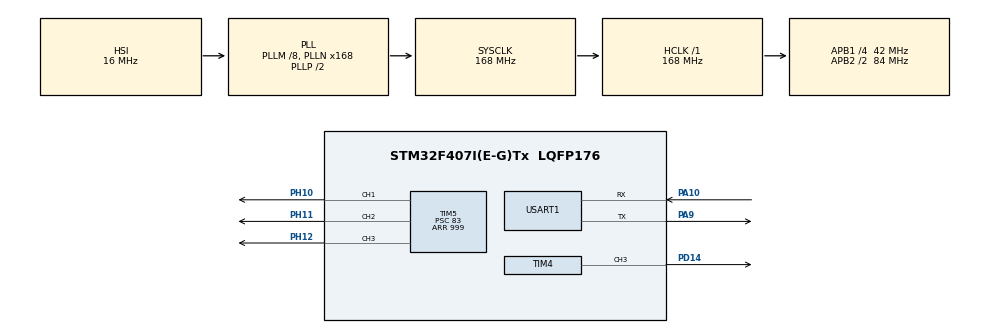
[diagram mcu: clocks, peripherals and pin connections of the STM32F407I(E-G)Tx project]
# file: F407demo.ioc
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FREERTOS.Tasks01=defaultTask,24,1024,StartDefaultTask,Default,NULL,Dynamic,NULL,NULL;LEDTask,8,1024,StartTask02,Default,NULL,Dynamic,NULL,NULL
Mcu.Family=STM32F4
Mcu.Name=STM32F407I(E-G)Tx
Mcu.Package=LQFP176
NVIC.PriorityGroup=NVIC_PRIORITYGROUP_4
NVIC.USART1_IRQn=true\:5\:0\:true\:false\:true\:true\:true\:true\:true
PA10.Mode=Asynchronous
PA10.Signal=USART1_RX
PA13.Mode=Serial_Wire
PA13.Signal=SYS_JTMS-SWDIO
PA14.Mode=Serial_Wire
PA14.Signal=SYS_JTCK-SWCLK
PA9.Mode=Asynchronous
PA9.Signal=USART1_TX
PC14-OSC32_IN.Mode=LSE-External-Oscillator
PC14-OSC32_IN.Signal=RCC_OSC32_IN
PC15-OSC32_OUT.Mode=LSE-External-Oscillator
PC15-OSC32_OUT.Signal=RCC_OSC32_OUT
PD14.Signal=S_TIM4_CH3
PH10.Signal=S_TIM5_CH1
PH11.Signal=S_TIM5_CH2
PH12.Signal=S_TIM5_CH3
ProjectManager.HeapSize=0x200
ProjectManager.StackSize=0x400
ProjectManager.TargetToolchain=CMake
RCC.48MHZClocksFreq_Value=84000000
RCC.AHBFreq_Value=168000000
RCC.APB1CLKDivider=RCC_HCLK_DIV4
RCC.APB1Freq_Value=42000000
RCC.APB1TimFreq_Value=84000000
RCC.APB2CLKDivider=RCC_HCLK_DIV2
RCC.APB2Freq_Value=84000000
RCC.APB2TimFreq_Value=168000000
RCC.CortexFreq_Value=168000000
RCC.HCLKFreq_Value=168000000
RCC.HSE_VALUE=8000000
RCC.HSI_VALUE=16000000
RCC.PLLM=8
RCC.PLLN=168
RCC.SYSCLKFreq_VALUE=168000000
RCC.SYSCLKSource=RCC_SYSCLKSOURCE_PLLCLK
RCC.VCOOutputFreq_Value=336000000
SH.S_TIM4_CH3.0=TIM4_CH3,PWM Generation3 CH3
SH.S_TIM5_CH1.0=TIM5_CH1,PWM Generation1 CH1
SH.S_TIM5_CH2.0=TIM5_CH2,PWM Generation2 CH2
SH.S_TIM5_CH3.0=TIM5_CH3,PWM Generation3 CH3
TIM4.Channel-PWM\ Generation3\ CH3=TIM_CHANNEL_3
TIM4.Period=499
TIM4.Prescaler=83
TIM4.Pulse-PWM\ Generation3\ CH3=250
TIM5.Channel-PWM\ Generation1\ CH1=TIM_CHANNEL_1
TIM5.Channel-PWM\ Generation2\ CH2=TIM_CHANNEL_2
TIM5.Channel-PWM\ Generation3\ CH3=TIM_CHANNEL_3
TIM5.Period=999
TIM5.Prescaler=83
USART1.VirtualMode=VM_ASYNC
VP_FREERTOS_VS_CMSIS_V2.Mode=CMSIS_V2
VP_TIM4_VS_ClockSourceINT.Mode=Internal
VP_TIM5_VS_ClockSourceINT.Mode=Internal
board=custom

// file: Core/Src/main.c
/* USER CODE BEGIN Header */
/**
 ******************************************************************************
 * @file           : main.c
 * @brief          : Main program body
 ******************************************************************************
 * @attention
 *
 * Copyright (c) 2026 STMicroelectronics.
 * All rights reserved.
 *
 * This software is licensed under terms that can be found in the LICENSE file
 * in the root directory of this software component.
 * If no LICENSE file comes with this software, it is provided AS-IS.
 *
 ******************************************************************************
 */
/* USER CODE END Header */
#include "main.h"
#include "cmsis_os.h"
#include "gpio.h"
#include "tim.h"
#include "usart.h"

/* USER CODE BEGIN Includes */

#include <stdio.h>
#include <string.h>

/* USER CODE END Includes */

/* USER CODE BEGIN PV */

uint8_t rx_byte;                // 接收单个字节
uint8_t rx_buffer[50];          // 接收指令缓存区
uint8_t rx_index = 0;           // 缓存区索引
uint8_t tx_buf[8];              // 发送缓存（必须全局，否则中断发送会乱码）
volatile uint8_t send_flag = 0; // 发送标志位 (0:不发送, 1:请求发送)
float g_kp_value = 0.0f;

/* USER CODE END PV */

void SystemClock_Config(void);
void MX_FREERTOS_Init(void);

/* USER CODE BEGIN 0 */
// 发送3通道数据给Synex
void Send_Float_Via_JustFloat(UART_HandleTypeDef *huart, float data)
{
  memcpy(tx_buf, &data, 4);
  tx_buf[4] = 0x00;
  tx_buf[5] = 0x00;
  tx_buf[6] = 0x80;
  tx_buf[7] = 0x7F;
  HAL_UART_Transmit_IT(huart, tx_buf, 8);
}

// 蜂鸣器编号
#define CAR_ID 1
void Play_Note(uint32_t arr_value, uint32_t duration)
{
  __HAL_TIM_SET_AUTORELOAD(&htim4, arr_value);
  __HAL_TIM_SET_COMPARE(&htim4, TIM_CHANNEL_3, arr_value / 2);
  HAL_Delay(duration);
  HAL_Delay(50);
}

/* USER CODE END 0 */

int main(void)
{

  /* MCU Configuration--------------------------------------------------------*/

  /* Reset of all peripherals, Initializes the Flash interface and the Systick. */
  HAL_Init();

  /* Configure the system clock */
  SystemClock_Config();

  /* Initialize all configured peripherals */
  MX_GPIO_Init();
  MX_TIM4_Init();
  MX_TIM5_Init();
  MX_USART1_UART_Init();
  /* USER CODE BEGIN 2 */

  HAL_TIM_PWM_Start(&htim4, TIM_CHANNEL_3); // 启动蜂鸣器

#if CAR_ID == 1
                                            // 1号车：升调（哆 来 咪）
  Play_Note(1911, 200); // Do (523Hz)
  Play_Note(1701, 200); // Re (587Hz)
  Play_Note(1516, 400); // Mi (659Hz)
#elif CAR_ID == 2
                                            // 2号车：降调（咪 来 哆）
  Play_Note(1516, 200);
  Play_Note(1701, 200);
  Play_Note(1911, 400);
#endif

  HAL_TIM_PWM_Stop(&htim4, TIM_CHANNEL_3);

  // 启动串口接收中断
  HAL_UART_Receive_IT(&huart1, &rx_byte, 1);

  // PWM
  HAL_TIM_PWM_Start(&htim5, TIM_CHANNEL_1);
  HAL_TIM_PWM_Start(&htim5, TIM_CHANNEL_2);
  HAL_TIM_PWM_Start(&htim5, TIM_CHANNEL_3);

  /* USER CODE END 2 */

  /* Init scheduler */
  osKernelInitialize(); /* Call init function for freertos objects (in cmsis_os2.c) */
  MX_FREERTOS_Init();

  /* Start scheduler */
  osKernelStart();

  /* We should never get here as control is now taken by the scheduler */

  /* Infinite loop */
  while (1)
  {

  }
}

void SystemClock_Config(void)
{
  RCC_OscInitTypeDef RCC_OscInitStruct = {0};
  RCC_ClkInitTypeDef RCC_ClkInitStruct = {0};

  /** Configure the main internal regulator output voltage
   */
  __HAL_RCC_PWR_CLK_ENABLE();
  __HAL_PWR_VOLTAGESCALING_CONFIG(PWR_REGULATOR_VOLTAGE_SCALE1);

  /** Initializes the RCC Oscillators according to the specified parameters
   * in the RCC_OscInitTypeDef structure.
   */
  RCC_OscInitStruct.OscillatorType = RCC_OSCILLATORTYPE_HSI;
  RCC_OscInitStruct.HSIState = RCC_HSI_ON;
  RCC_OscInitStruct.HSICalibrationValue = RCC_HSICALIBRATION_DEFAULT;
  RCC_OscInitStruct.PLL.PLLState = RCC_PLL_ON;
  RCC_OscInitStruct.PLL.PLLSource = RCC_PLLSOURCE_HSI;
  RCC_OscInitStruct.PLL.PLLM = 8;
  RCC_OscInitStruct.PLL.PLLN = 168;
  RCC_OscInitStruct.PLL.PLLP = RCC_PLLP_DIV2;
  RCC_OscInitStruct.PLL.PLLQ = 4;
  if (HAL_RCC_OscConfig(&RCC_OscInitStruct) != HAL_OK)
  {
    Error_Handler();
  }

  /** Initializes the CPU, AHB and APB buses clocks
   */
  RCC_ClkInitStruct.ClockType = RCC_CLOCKTYPE_HCLK | RCC_CLOCKTYPE_SYSCLK | RCC_CLOCKTYPE_PCLK1 | RCC_CLOCKTYPE_PCLK2;
  RCC_ClkInitStruct.SYSCLKSource = RCC_SYSCLKSOURCE_PLLCLK;
  RCC_ClkInitStruct.AHBCLKDivider = RCC_SYSCLK_DIV1;
  RCC_ClkInitStruct.APB1CLKDivider = RCC_HCLK_DIV4;
  RCC_ClkInitStruct.APB2CLKDivider = RCC_HCLK_DIV2;

  if (HAL_RCC_ClockConfig(&RCC_ClkInitStruct, FLASH_LATENCY_5) != HAL_OK)
  {
    Error_Handler();
  }
}

/* USER CODE BEGIN 4 */

void HAL_UART_RxCpltCallback(UART_HandleTypeDef *huart)
{
  if (huart->Instance == USART1)
  {
    if (rx_index < sizeof(rx_buffer) - 1)
    {
      rx_buffer[rx_index++] = rx_byte;
    }
    else
    {
      rx_index = sizeof(rx_buffer) - 1;
    }

    if (rx_byte == '\r' || rx_index >= sizeof(rx_buffer) - 1)
    {
      rx_buffer[rx_index] = '\0';
      float kp_value = 0.0f;
      if (sscanf((char *)rx_buffer, "kp=%f", &kp_value) == 1)
      {
        g_kp_value = kp_value; // 存入全局变量
        send_flag = 1;         // 置标志位
      }
      rx_index = 0;
    }
    HAL_UART_Receive_IT(huart, &rx_byte, 1);
  }
}

/* USER CODE END 4 */

void Error_Handler(void)
{
  __disable_irq();
  while (1)
  {
  }
}

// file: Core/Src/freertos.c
/* USER CODE BEGIN Header */
/**
 ******************************************************************************
 * File Name          : freertos.c
 * Description        : Code for freertos applications
 ******************************************************************************
 * @attention
 *
 * Copyright (c) 2026 STMicroelectronics.
 * All rights reserved.
 *
 * This software is licensed under terms that can be found in the LICENSE file
 * in the root directory of this software component.
 * If no LICENSE file comes with this software, it is provided AS-IS.
 *
 ******************************************************************************
 */
/* USER CODE END Header */

#include "FreeRTOS.h"
#include "cmsis_os.h"
#include "main.h"
#include "task.h"

/* USER CODE BEGIN Includes */

#include "tim.h"

/* USER CODE END Includes */

/* USER CODE BEGIN Variables */

extern uint8_t send_flag;         // 声明外部变量
extern float g_kp_value;          // 声明外部变量
extern UART_HandleTypeDef huart1; // 声明外部变量
void Send_Float_Via_JustFloat(UART_HandleTypeDef *huart, float data);

/* USER CODE END Variables */
/* Definitions for defaultTask */
osThreadId_t defaultTaskHandle;
const osThreadAttr_t defaultTask_attributes = {
    .name = "defaultTask",
    .stack_size = 1024 * 4,
    .priority = (osPriority_t)osPriorityNormal,
};
/* Definitions for LEDTask */
osThreadId_t LEDTaskHandle;
const osThreadAttr_t LEDTask_attributes = {
    .name = "LEDTask",
    .stack_size = 1024 * 4,
    .priority = (osPriority_t)osPriorityLow,
};

void StartDefaultTask(void *argument);
void StartTask02(void *argument);

void MX_FREERTOS_Init(void); /* (MISRA C 2004 rule 8.1) */

void MX_FREERTOS_Init(void)
{

  /* Create the thread(s) */
  /* creation of defaultTask */
  defaultTaskHandle = osThreadNew(StartDefaultTask, NULL, &defaultTask_attributes);

  /* creation of LEDTask */
  LEDTaskHandle = osThreadNew(StartTask02, NULL, &LEDTask_attributes);

}

void StartDefaultTask(void *argument)
{
  /* USER CODE BEGIN StartDefaultTask */
  /* Infinite loop */
  uint16_t brightness = 0;
  for (;;)
  {
    for (brightness = 0; brightness <= 1000; brightness += 10)
    {

      // ========== 蓝灯呼吸 ==========
      // 渐亮（0 -> 1000）
      for (brightness = 0; brightness <= 1000; brightness += 10)
      {
        __HAL_TIM_SET_COMPARE(&htim5, TIM_CHANNEL_1, brightness);
        osDelay(10);
      }
      // 渐暗（1000 -> 0）
      for (brightness = 1000; brightness > 0; brightness -= 10)
      {
        __HAL_TIM_SET_COMPARE(&htim5, TIM_CHANNEL_1, brightness);
        osDelay(10);
      }

      // ========== 绿灯呼吸 ==========
      // 渐亮
      for (brightness = 0; brightness <= 1000; brightness += 10)
      {
        __HAL_TIM_SET_COMPARE(&htim5, TIM_CHANNEL_2, brightness);
        osDelay(10);
      }
      // 渐暗
      for (brightness = 1000; brightness > 0; brightness -= 10)
      {
        __HAL_TIM_SET_COMPARE(&htim5, TIM_CHANNEL_2, brightness);
        osDelay(10);
      }

      //========== 红灯呼吸 ==========
      // 渐亮
      for (brightness = 0; brightness <= 1000; brightness += 10)
      {
        __HAL_TIM_SET_COMPARE(&htim5, TIM_CHANNEL_3, brightness);
        osDelay(10);
      }
      // 渐暗
      for (brightness = 1000; brightness > 0; brightness -= 10)
      {
        __HAL_TIM_SET_COMPARE(&htim5, TIM_CHANNEL_3, brightness);
        osDelay(10);
      }

      osDelay(200); // 三个颜色都结束后，稍作停顿再循环

      //==========串口==========
      if (send_flag == 1) // 如果串口中断接收到了数据
      {
        send_flag = 0;                                 // 旗子放倒
        Send_Float_Via_JustFloat(&huart1, g_kp_value); // 发送数据
      }

      osDelay(10); // 让出CPU，不然系统会卡死
    }
  }
  /* USER CODE END StartDefaultTask */
}

void StartTask02(void *argument)
{
  for (;;)
  {
    osDelay(1);
  }
}
